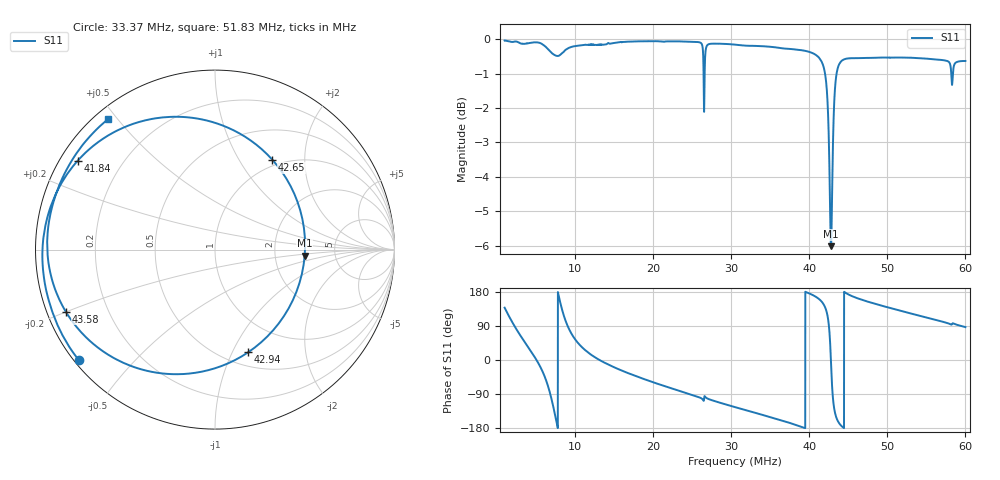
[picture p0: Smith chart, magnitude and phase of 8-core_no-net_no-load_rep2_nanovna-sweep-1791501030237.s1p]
! NanoVNA Web complex sweep
! Processing: unaveraged complex samples; linear segment spacing; no smoothing
# Hz S RI R 50
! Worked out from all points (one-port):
!   5050 points, 1 MHz to 60 MHz, reference 50 ohm
!   lowest |S11| = -6.0 dB at 42.79 MHz (marker M1), VSWR 3.01, Z = 149 - j13.2 ohm
!   |S11| at or under -10 dB: nowhere
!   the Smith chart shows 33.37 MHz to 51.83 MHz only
!   S11 on the Smith chart (normalised r, x): 33.37 MHz: 0.01, -0.35; 41.84 MHz: 0.05, +0.29; 42.65 MHz: 0.91, +1.40; 42.94 MHz: 0.64, -1.15; 43.58 MHz: 0.05, -0.20; 51.83 MHz: 0.04, +0.47
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1000000  -0.7401 0.6654
2741065  0.2802 0.9489
3956305  0.8003 0.5754
5043010  0.9887 0.0243
6059605  0.7492 -0.6297
6924295  -0.1026 -0.9514
7274845  -0.5746 -0.7565
7683820  -0.9216 -0.2104
8384920  -0.6251 0.7217
9202870  0.1066 0.9648
1.085046e7  0.8036 0.5602
1.275511e7  0.9772 0.0817
1.575816e7  0.8915 -0.4301
2.313139e7  0.1754 -0.9765
3.050462e7  -0.5538 -0.8103
3.336745e7  -0.7597 -0.6146
3.787786e7  -0.9471 -0.1938
4.183908e7  -0.7655 0.495
4.23649e7  -0.332 0.7314
4.264534e7  0.3196 0.5005
4.278556e7  0.4997 -0.0333
4.293746e7  0.1853 -0.5718
4.317116e7  -0.4492 -0.6551
4.358014e7  -0.8313 -0.3459
4.52511e7  -0.9254 0.1524
5.182975e7  -0.5935 0.729
5.262433e7  -0.5369 0.7713
5.999756e7  0.0516 0.928
